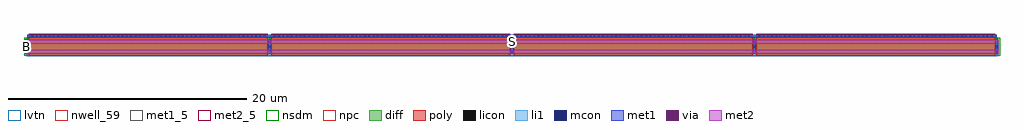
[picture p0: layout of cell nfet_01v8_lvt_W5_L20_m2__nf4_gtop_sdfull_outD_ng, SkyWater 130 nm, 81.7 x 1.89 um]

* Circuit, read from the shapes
.subckt nfet_01v8_lvt_W5_L20_m2__nf4_gtop_sdfull_outD_ng B D G S
XM1 S G D B sky130_fd_pr__nfet_01v8_lvt w=1.25 l=20 m=4
.ends

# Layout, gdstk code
import gdstk
lib = gdstk.Library(unit=1e-6, precision=1e-09)
def R(c, l, rs):  # rectangles x0, y0, x1, y1
    for r in rs: c.add(gdstk.rectangle(r[:2], r[2:], *l))
def A(c, l, x, y, w, h, nx, ny, dx, dy):  # array of equal rectangles
    R(c, l, [(x+i*dx, y+j*dy, x+i*dx+w, y+j*dy+h) for i in range(nx) for j in range(ny)])
nwell_59 = (64, 59)
diff = (65, 20)
poly = (66, 20)
licon = (66, 44)
li1 = (67, 20)
mcon = (67, 44)
met1_5 = (68, 5)
met1 = (68, 20)
via = (68, 44)
met2_5 = (69, 5)
met2 = (69, 20)
nsdm = (93, 44)
npc = (95, 20)
lvtn = (125, 44)

sky130_fd_pr__nfet_01v8_ = lib.new_cell('sky130_fd_pr__nfet_01v8_lvt_PRYHRV')
R(sky130_fd_pr__nfet_01v8_, diff, [(-40.725,-0.78,40.725,0.47)])
A(sky130_fd_pr__nfet_01v8_, poly, -40.435, -0.91, 20, 1.82, 4, 1, 20.29, 0)
A(sky130_fd_pr__nfet_01v8_, licon, -40.665, -0.58, 0.17, 0.17, 5, 3, 20.29, 0.34)
A(sky130_fd_pr__nfet_01v8_, licon, -40.21, 0.66, 0.17, 0.17, 58, 1, 0.34, 0)
A(sky130_fd_pr__nfet_01v8_, licon, -19.92, 0.66, 0.17, 0.17, 58, 1, 0.34, 0)
A(sky130_fd_pr__nfet_01v8_, licon, 0.37, 0.66, 0.17, 0.17, 58, 1, 0.34, 0)
A(sky130_fd_pr__nfet_01v8_, licon, 20.66, 0.66, 0.17, 0.17, 58, 1, 0.34, 0)
A(sky130_fd_pr__nfet_01v8_, li1, -40.665, -0.8, 0.17, 1.29, 5, 1, 20.29, 0)
R(sky130_fd_pr__nfet_01v8_, li1, [(-40.58,0.66,40.58,0.83)])
A(sky130_fd_pr__nfet_01v8_, mcon, -40.665, -0.6, 0.17, 0.17, 5, 3, 20.29, 0.36)
A(sky130_fd_pr__nfet_01v8_, mcon, -40.24, 0.66, 0.17, 0.17, 55, 1, 0.36, 0)
A(sky130_fd_pr__nfet_01v8_, mcon, -19.95, 0.66, 0.17, 0.17, 55, 1, 0.36, 0)
A(sky130_fd_pr__nfet_01v8_, mcon, 0.34, 0.66, 0.17, 0.17, 55, 1, 0.36, 0)
A(sky130_fd_pr__nfet_01v8_, mcon, 20.63, 0.66, 0.17, 0.17, 55, 1, 0.36, 0)
A(sky130_fd_pr__nfet_01v8_, met1, -40.695, -0.78, 0.23, 1.25, 5, 1, 20.29, 0)
A(sky130_fd_pr__nfet_01v8_, met1, -40.415, 0.63, 19.96, 0.03, 4, 2, 20.29, 0.2)
R(sky130_fd_pr__nfet_01v8_, met1, [(-40.58,0.66,40.58,0.83)])
R(sky130_fd_pr__nfet_01v8_, nsdm, [(-40.85,-0.905,40.85,0.595)])
A(sky130_fd_pr__nfet_01v8_, npc, -40.31, 0.56, 19.75, 0.37, 4, 1, 20.29, 0)
R(sky130_fd_pr__nfet_01v8_, lvtn, [(-40.615,-0.96,40.615,0.65)])
sky130_fd_pr__nfet_01v8_.add(gdstk.Label('D0', (-40.58,-0.155), layer=67, texttype=5))
sky130_fd_pr__nfet_01v8_.add(gdstk.Label('G', (30.435,0.745), layer=67, texttype=5))
sky130_fd_pr__nfet_01v8_.add(gdstk.Label('G', (10.145,0.745), layer=67, texttype=5))
sky130_fd_pr__nfet_01v8_.add(gdstk.Label('G', (-10.145,0.745), layer=67, texttype=5))
sky130_fd_pr__nfet_01v8_.add(gdstk.Label('G', (-30.435,0.745), layer=67, texttype=5))
sky130_fd_pr__nfet_01v8_.add(gdstk.Label('S1', (-20.29,-0.155), layer=67, texttype=5))
sky130_fd_pr__nfet_01v8_.add(gdstk.Label('D2', (0,-0.155), layer=67, texttype=5))
sky130_fd_pr__nfet_01v8_.add(gdstk.Label('S3', (20.29,-0.155), layer=67, texttype=5))

nfet_01v8_lvt_w5_l20_m2_ = lib.new_cell('nfet_01v8_lvt_W5_L20_m2__nf4_gtop_sdfull_outD_ng')
R(nfet_01v8_lvt_w5_l20_m2_, nwell_59, [(0.05,0.705,0.15,0.805)])
R(nfet_01v8_lvt_w5_l20_m2_, met1_5, [(0.145,1.54,81.305,1.77)])
A(nfet_01v8_lvt_w5_l20_m2_, met1, 0.015, 0.18, 0.26, 0.32, 3, 1, 40.58, 0)
R(nfet_01v8_lvt_w5_l20_m2_, met1, [(20.305,1.01,20.565,1.33), (60.885,1.01,61.145,1.33), (0.145,1.54,81.305,1.77)])
A(nfet_01v8_lvt_w5_l20_m2_, via, 0.07, 0.265, 0.15, 0.15, 3, 1, 40.58, 0)
R(nfet_01v8_lvt_w5_l20_m2_, via, [(20.36,1.095,20.51,1.245), (60.94,1.095,61.09,1.245)])
R(nfet_01v8_lvt_w5_l20_m2_, met2_5, [(0.01,0.18,81.44,0.5), (0.01,1.01,81.44,1.33)])
R(nfet_01v8_lvt_w5_l20_m2_, met2, [(0.01,0.18,81.44,0.5), (0.01,1.01,81.44,1.33)])
nfet_01v8_lvt_w5_l20_m2_.add(gdstk.Reference(sky130_fd_pr__nfet_01v8_, (40.725,0.91)))
nfet_01v8_lvt_w5_l20_m2_.add(gdstk.Label('S', (40.725,1.17), layer=69, texttype=5))
nfet_01v8_lvt_w5_l20_m2_.add(gdstk.Label('D', (40.725,0.34), layer=69, texttype=5))
nfet_01v8_lvt_w5_l20_m2_.add(gdstk.Label('G', (40.725,1.655), layer=68, texttype=5))
nfet_01v8_lvt_w5_l20_m2_.add(gdstk.Label('B', (0.1,0.755), layer=64, texttype=59))

lib.write_gds('nfet_01v8_lvt_W5_L20_m2__nf4_gtop_sdfull_outD_ng.gds')
